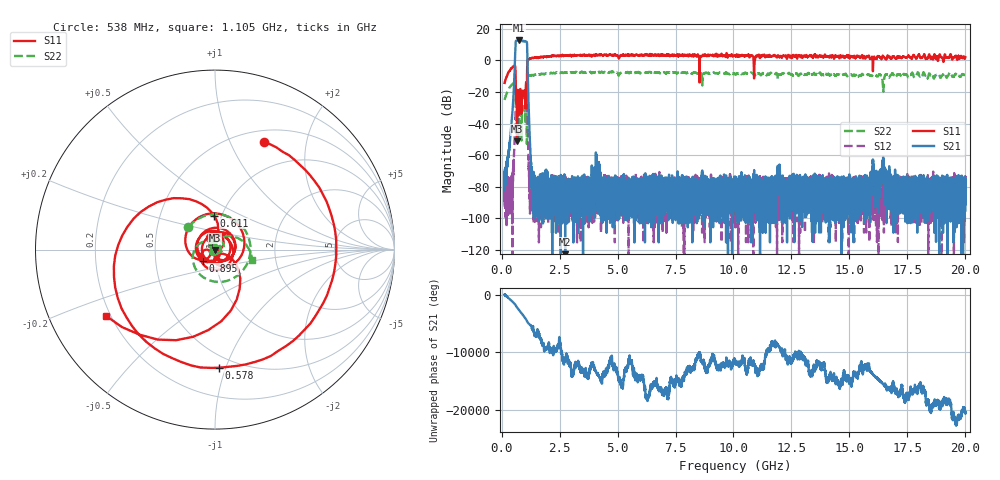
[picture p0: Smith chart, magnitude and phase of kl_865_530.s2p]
!Created with skrf (http://scikit-rf.org).
# GHz S RI R 50.0
!freq ReS11 ImS11 ReS21 ImS21 ReS12 ImS12 ReS22 ImS22
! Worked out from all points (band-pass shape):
!   20013 points, 130 MHz to 20 GHz, reference 50 ohm
!   highest |S21| = 12.49 dB at 731 MHz (marker M1); lowest = -178.6 dB at 2.741 GHz (marker M2)
!   |S21| within 3 dB of the highest: 599.3 MHz to 1.1 GHz (500.9 MHz wide, 58.9 % of centre)
!   lowest |S11| = -51.2 dB at 665 MHz (marker M3), VSWR 1.01, Z = 50.1 - j0.253 ohm
!   |S11| at or under -10 dB: start of sweep to 232.5 MHz; 605.9 MHz to 1.096 GHz (490.3 MHz wide, 57.6 % of centre); 10.8846 GHz to 10.89065 GHz (6.054 MHz wide, 0.0556 % of centre) (the widest 3 of 5)
!   |S22| runs from -52.9 to -7.1 dB; largest |S21 - S12| = 4.2
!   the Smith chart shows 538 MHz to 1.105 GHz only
!   S11 on the Smith chart (normalised r, x): 538 MHz: 0.63, +1.35; 578 MHz: 0.41, -0.95; 611 MHz: 0.92, +0.36; 895 MHz: 0.87, -0.11; 1.105 GHz: 0.18, -0.27
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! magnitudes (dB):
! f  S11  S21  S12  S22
! 130 MHz  -14.3  -76.1  -85.4  -25.1
! 407 MHz  -5.1  -43.6  -79.0  -16.1
! 538 MHz  -3.6  -14.8  -58.4  -14.3
! 578 MHz  -3.6  0.3  -41.7  -14.2
! 611 MHz  -14.4  11.9  -29.6  -25.5
! 665 MHz  -51.2  12.4  -27.9  -45.5
! 731 MHz  -34.0  12.5  -26.5  -37.8
! 895 MHz  -20.8  12.2  -24.3  -32.0
! 1.021 GHz  -23.2  12.0  -23.1  -33.4
! 1.105 GHz  -3.0  7.0  -27.3  -13.3
! 1.243 GHz  1.2  -57.5  -93.5  -9.8
! 1.391 GHz  1.5  -80.8  -82.8  -9.4
! 2.741 GHz  3.0  -178.6  -80.1  -7.7
! 3.442 GHz  2.8  -82.1  -80.3  -7.3
! 4.149 GHz  3.0  -78.3  -80.8  -7.8
! 6.754 GHz  3.3  -86.7  -80.2  -7.8
! 10.06 GHz  3.1  -80.9  -81.0  -8.7
! 13.38 GHz  2.9  -76.0  -90.8  -8.9
! 15.78 GHz  2.2  -81.7  -78.0  -9.2
! 16.42 GHz  2.7  -66.3  -79.3  -12.0
! 16.69 GHz  1.7  -75.7  -87.0  -10.8
! 20 GHz  1.9  -95.0  -81.0  -9.3
